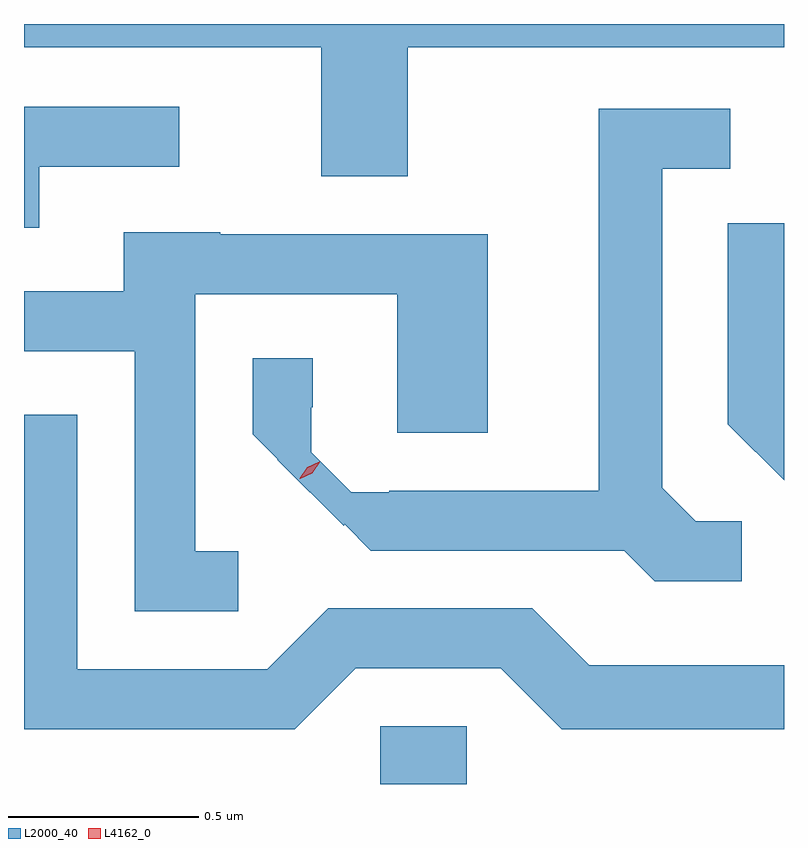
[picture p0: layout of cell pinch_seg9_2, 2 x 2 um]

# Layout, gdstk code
import gdstk
lib = gdstk.Library(unit=1e-6, precision=1e-09)
def R(c, l, rs):  # rectangles x0, y0, x1, y1
    for r in rs: c.add(gdstk.rectangle(r[:2], r[2:], *l))
def P(c, l, *ps):  # polygons
    for p in ps: c.add(gdstk.Polygon(p, *l))
L2000_40 = (2000, 40)
L4162_0 = (4162, 0)

pinch_seg9_2 = lib.new_cell('pinch_seg9_2')
R(pinch_seg9_2, L2000_40, [(1909.316,2016.517,1909.544,2016.669)])
P(pinch_seg9_2, L2000_40, [(1909.389,2018.456),(1910.379,2018.456),(1910.379,2018.517),(1908.379,2018.517),(1908.379,2018.456),(1909.161,2018.456),(1909.161,2018.116),(1909.389,2018.116)],
  [(1908.419,2018.141),(1908.788,2018.141),(1908.788,2018.299),(1908.379,2018.299),(1908.379,2017.981),(1908.419,2017.981)],
  [(1910.268,2017.209),(1910.147,2017.209),(1910.059,2017.297),(1910.059,2018.136),(1910.238,2018.136),(1910.238,2018.294),(1909.891,2018.294),(1909.891,2017.289),(1909.34,2017.289),(1909.34,2017.285),(1909.24,2017.285),(1909.135,2017.39),(1909.135,2017.508),(1909.139,2017.508),(1909.139,2017.638),(1908.981,2017.638),(1908.981,2017.437),(1909.047,2017.371),(1909.046,2017.37),(1909.22,2017.196),(1909.223,2017.2),(1909.292,2017.131),(1909.959,2017.131),(1910.039,2017.051),(1910.268,2017.051)],
  [(1910.379,2017.993),(1910.231,2017.993),(1910.231,2017.464),(1910.379,2017.316)],
  [(1908.943,2017.129),(1908.829,2017.129),(1908.829,2017.806),(1909.361,2017.806),(1909.361,2017.441),(1909.599,2017.441),(1909.599,2017.964),(1908.895,2017.964),(1908.895,2017.969),(1908.641,2017.969),(1908.641,2017.814),(1908.379,2017.814),(1908.379,2017.656),(1908.671,2017.656),(1908.671,2016.971),(1908.943,2016.971)],
  [(1909.252,2016.821),(1909.634,2016.821),(1909.794,2016.661),(1910.379,2016.661),(1910.379,2016.829),(1909.867,2016.829),(1909.717,2016.979),(1909.179,2016.979),(1909.019,2016.819),(1908.519,2016.819),(1908.519,2017.489),(1908.379,2017.489),(1908.379,2016.661),(1909.092,2016.661)])
P(pinch_seg9_2, L4162_0, [(1909.105,2017.32),(1909.105,2017.321),(1909.124,2017.35),(1909.156,2017.365),(1909.157,2017.365),(1909.157,2017.364),(1909.137,2017.335),(1909.106,2017.32)],
  [(1909.111,2017.326),(1909.111,2017.327),(1909.124,2017.35),(1909.15,2017.359),(1909.15,2017.359),(1909.15,2017.358),(1909.137,2017.335),(1909.111,2017.326)])

lib.write_gds('pinch_seg9_2.gds')
